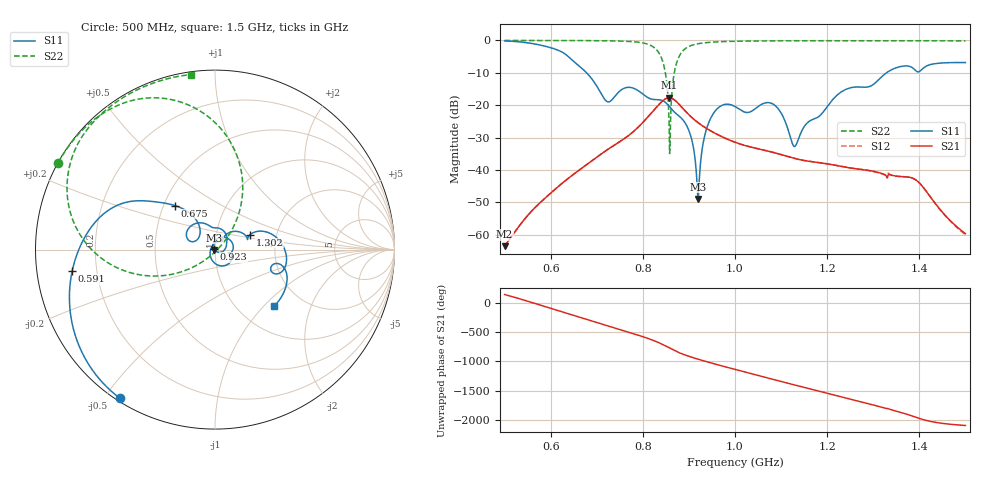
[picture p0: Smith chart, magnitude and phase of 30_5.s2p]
! TOUCHSTONE file generated by CST MICROWAVE STUDIO
! Date and time: Fri Oct  2 19:15:20 2020
! Project name: Scenario_1_Free_Space_out_of_line.cst
! Parameters = {Lambda=346.42; Step_1=17.321; dy1=-155.249; dx1=866; L_HA=400; MT=2.54; Rad_Dielectric=30; Rad_Lower=7.3; Rad_Upper=30; a_HA=580; a_WG=246; b_HA=500; b_WG=121; c_HA=0; c_WG=187; d_feed=85; h_feed=15; h_lower=18; h_upper=40}
! Header version: 2018
! Port assignment regex: !\s*Touchstone port\s*([0-9]+)\s*=\s*(CST MWS port|CST DS port)\s*([0-9]+|Zmin|Zmax)\s*\(\"(.*)\"\)(\s*mode\s*([0-9]+))?.*
! Touchstone port assignment:
! Touchstone port 1 = CST MWS port 1 ("")
! Touchstone port 2 = CST MWS port 2 ("")
# GHz S DB R 50
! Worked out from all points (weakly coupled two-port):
!   1003 points, 500 MHz to 1.5 GHz, reference 50 ohm
!   highest |S21| = -17.72 dB at 857 MHz (marker M1); lowest = -63.6 dB at 500 MHz (marker M2)
!   lowest |S11| = -49.0 dB at 920 MHz (marker M3), VSWR 1.01, Z = 49.7 - j0.186 ohm
!   |S11| at or under -10 dB: 677.9 MHz to 1.329 GHz (650.9 MHz wide, 64.9 % of centre)
!   |S22| runs from -35.0 to 0.0 dB; largest |S21 - S12| = 0.0018
!   S11 on the Smith chart (normalised r, x): 500 MHz: 0.01, -0.55; 591 MHz: 0.11, -0.07; 675 MHz: 0.57, +0.32; 923 MHz: 0.99, +0.01; 1.302 GHz: 1.46, +0.26; 1.5 GHz: 1.44, -1.15
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0.5  -0.15 -122.6  -63.56 141.9  -63.56 141.9  -0.01 151.1
0.591  -1.89 -171.6  -48.31 -72.4  -48.32 -72.4  -0.02 144.8
0.667  -8.54 136.6  -39.52 103.2  -39.52 103.2  -0.04 138.3
0.675  -9.58 132.3  -38.68 84.1  -38.68 84.1  -0.05 137.5
0.723  -18.93 142.0  -33.75 -32.2  -33.75 -32.1  -0.11 131.8
0.834  -18.30 83.3  -19.91 40.0  -19.91 40.0  -3.66 85.8
0.848  -19.02 61.5  -18.13 -12.2  -18.13 -12.2  -9.32 63.5
0.857  -20.29 47.0  -17.72 -49.0  -17.72 -49.0  -25.91 37.0
0.877  -23.17 22.8  -19.47 -126.5  -19.47 -126.5  -5.47 -167.9
0.903  -29.08 -24.7  -23.38 157.0  -23.38 157.0  -1.67 166.5
0.92  -48.97 -148.3  -25.43 115.5  -25.43 115.5  -1.01 157.9
0.923  -41.86 147.7  -25.75 108.5  -25.75 108.5  -0.94 156.8
0.933  -30.19 108.5  -26.72 85.5  -26.72 85.5  -0.75 153.4
0.948  -23.82 76.0  -28.01 51.9  -28.01 51.9  -0.56 149.4
1  -20.42 -6.9  -31.45 -58.7  -31.44 -58.7  -0.26 140.1
1.084  -19.79 -61.9  -34.63 127.7  -34.63 127.7  -0.13 131.1
1.129  -32.77 155.7  -36.44 36.1  -36.44 36.1  -0.11 127.2
1.167  -24.53 50.5  -37.46 -39.4  -37.47 -39.5  -0.09 124.1
1.302  -13.40 23.1  -40.48 48.3  -40.55 48.6  -0.09 113.8
1.334  -9.50 13.9  -41.43 -16.2  -41.22 -19.1  -0.09 111.4
1.394  -9.54 -20.6  -43.25 -161.4  -43.25 -161.4  -0.10 106.7
1.5  -6.83 -43.9  -59.69 62.3  -60.00 63.4  -0.14 97.8
